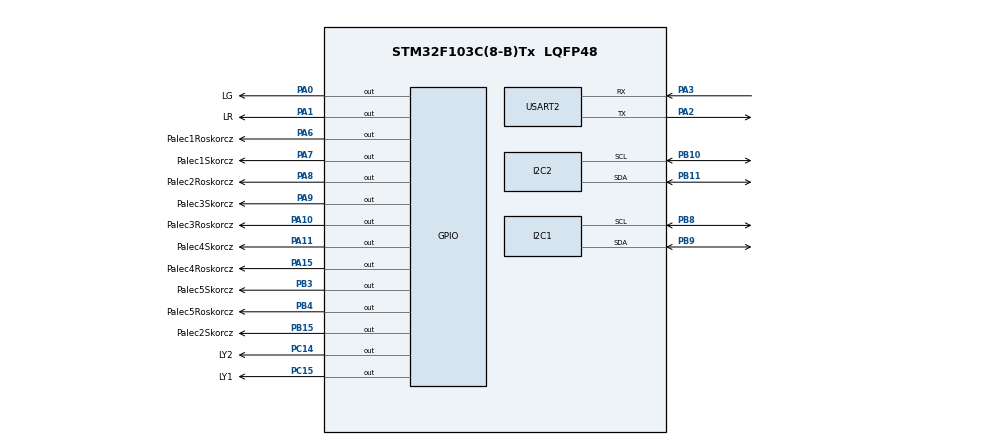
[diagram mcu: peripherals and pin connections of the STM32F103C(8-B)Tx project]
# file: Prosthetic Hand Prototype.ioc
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Mcu.Family=STM32F1
Mcu.Name=STM32F103C(8-B)Tx
Mcu.Package=LQFP48
NVIC.PriorityGroup=NVIC_PRIORITYGROUP_4
PA0-WKUP.GPIO_Label=LG
PA0-WKUP.Signal=GPIO_Output
PA1.GPIO_Label=LR
PA1.Signal=GPIO_Output
PA10.GPIO_Label=Palec3Roskorcz
PA10.Signal=GPIO_Output
PA11.GPIO_Label=Palec4Skorcz
PA11.Signal=GPIO_Output
PA15.GPIO_Label=Palec4Roskorcz
PA15.Signal=GPIO_Output
PA2.Mode=Asynchronous
PA2.Signal=USART2_TX
PA3.Mode=Asynchronous
PA3.Signal=USART2_RX
PA6.GPIO_Label=Palec1Roskorcz
PA6.Signal=GPIO_Output
PA7.GPIO_Label=Palec1Skorcz
PA7.Signal=GPIO_Output
PA8.GPIO_Label=Palec2Roskorcz
PA8.Signal=GPIO_Output
PA9.GPIO_Label=Palec3Skorcz
PA9.Signal=GPIO_Output
PB10.Mode=I2C
PB10.Signal=I2C2_SCL
PB11.Mode=I2C
PB11.Signal=I2C2_SDA
PB15.GPIO_Label=Palec2Skorcz
PB15.Signal=GPIO_Output
PB3.GPIO_Label=Palec5Skorcz
PB3.Signal=GPIO_Output
PB4.GPIO_Label=Palec5Roskorcz
PB4.Signal=GPIO_Output
PB8.Mode=I2C
PB8.Signal=I2C1_SCL
PB9.Mode=I2C
PB9.Signal=I2C1_SDA
PC14-OSC32_IN.GPIO_Label=LY2
PC14-OSC32_IN.Signal=GPIO_Output
PC15-OSC32_OUT.GPIO_Label=LY1
PC15-OSC32_OUT.Signal=GPIO_Output
ProjectManager.HeapSize=0x200
ProjectManager.StackSize=0x400
ProjectManager.TargetToolchain=STM32CubeIDE
RCC.APB1Freq_Value=8000000
RCC.APB2Freq_Value=8000000
USART2.VirtualMode=VM_ASYNC
VP_SYS_VS_ND.Mode=No_Debug
board=custom

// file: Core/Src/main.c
/* USER CODE BEGIN Header */
/**
  ******************************************************************************
  * @file           : main.c
  * @brief          : Main program body
  ******************************************************************************
  * @attention
  *
  * Copyright (c) 2026 STMicroelectronics.
  * All rights reserved.
  *
  * This software is licensed under terms that can be found in the LICENSE file
  * in the root directory of this software component.
  * If no LICENSE file comes with this software, it is provided AS-IS.
  *
  ******************************************************************************
  */
/* USER CODE END Header */
#include "main.h"

/* USER CODE BEGIN Includes */
#include <stdio.h>
#include <math.h>
#include "mag3110.h"
/* USER CODE END Includes */

/* USER CODE BEGIN PD */
#define MOTION_THRESHOLD 3.5//2.0f   // µT, 2.0 było za mało
#define DIRECTION_THRESHOLD 3.5f
#define STILL_LIMIT 30          // ile próbek bez ruchu kończy kalibrację

#define ALPHA 0.2f
#define THRESHOLD 1.8f
/* USER CODE END PD */

I2C_HandleTypeDef hi2c1;
I2C_HandleTypeDef hi2c2;

UART_HandleTypeDef huart2;

/* USER CODE BEGIN PV */
MAG3110_t mag;

#define N 10

float x,y,z;

float xmin =  10000;
float xmax = -10000;

float ymin =  10000;
float ymax = -10000;

float zmin =  10000;
float zmax = -10000;

float x_offset = 0;
float y_offset = 0;
float z_offset = 0;

float x_prev = 0;
float y_prev = 0;
float z_prev = 0;

float x_prev_corr = 0;
float y_prev_corr = 0;
float z_prev_corr = 0;

float B_buf[N];
int idx=0;

uint8_t calibration_done = 0;
uint32_t still_counter = 0;
uint8_t sensor_error = 0;

int MovementCounter = 0;

float x_filt = 0, y_filt = 0, z_filt = 0;
float x_prev_filt = 0, y_prev_filt = 0, z_prev_filt = 0;

static int motion_counter = 0;
uint32_t timer_start = 0;

uint8_t movement_active = 0;
/* USER CODE END PV */

void SystemClock_Config(void);
static void MX_GPIO_Init(void);
static void MX_I2C1_Init(void);
static void MX_USART2_UART_Init(void);
static void MX_I2C2_Init(void);

/* USER CODE BEGIN 0 */
int __io_putchar(int ch)
{
    HAL_UART_Transmit(&huart2, (uint8_t*)&ch, 1, HAL_MAX_DELAY);
    return 1;
}
/* USER CODE END 0 */

int main(void)
{

  /* MCU Configuration--------------------------------------------------------*/

  /* Reset of all peripherals, Initializes the Flash interface and the Systick. */
  HAL_Init();

  /* Configure the system clock */
  SystemClock_Config();

  /* Initialize all configured peripherals */
  MX_GPIO_Init();
  MX_I2C1_Init();
  MX_USART2_UART_Init();
  MX_I2C2_Init();
  /* USER CODE BEGIN 2 */
  MAG3110_Init(&mag, &hi2c1);
  /* USER CODE END 2 */

  /* Infinite loop */
  /* USER CODE BEGIN WHILE */

  for(uint8_t addr=1; addr<128; addr++)
  {
      if(HAL_I2C_IsDeviceReady(&hi2c1, addr<<1, 2, 10) == HAL_OK)
    	  printf("Sensor found. Address: 0x%02X\r\n", addr);

  }

  if(MAG3110_Init(&mag, &hi2c1) != HAL_OK)
    {
  	  sensor_error = 1;
    }

  while (1)
  {
	  if(sensor_error == 1){
		  printf("MAG3110 init ERROR\r\n");
		  HAL_GPIO_TogglePin(LR_GPIO_Port, LR_Pin);
		  HAL_Delay(1000);
	  }else{
		  	  MAG3110_Read_uT(&mag, &x,&y,&z);
	//Dla offsetu
		  	float dx_raw = fabsf(x - x_prev);
			float dy_raw = fabsf(y - y_prev);
			float dz_raw = fabsf(z - z_prev);

			uint8_t motion_detected = (dx_raw > MOTION_THRESHOLD) ||
									  (dy_raw > MOTION_THRESHOLD) ||
									  (dz_raw > MOTION_THRESHOLD);
		  if(!calibration_done)
		  {
			  printf("Calibration in progress\r\n");
			  HAL_GPIO_WritePin(LR_GPIO_Port, LR_Pin, GPIO_PIN_SET);
			  /* aktualizacja min/max */
			  if(x < xmin) xmin = x;
			  if(x > xmax) xmax = x;

			  if(y < ymin) ymin = y;
			  if(y > ymax) ymax = y;

			  if(z < zmin) zmin = z;
			  if(z > zmax) zmax = z;

			  /* wykrywanie braku ruchu */
			  if(motion_detected)
				  still_counter = 0;
			  else
				  still_counter++;

			  /* zakończenie kalibracji */
			  if(still_counter > STILL_LIMIT)
			  {
				  x_offset = (xmax + xmin)/2.0f;
				  y_offset = (ymax + ymin)/2.0f;
				  z_offset = (zmax + zmin)/2.0f;

				  calibration_done = 1;

				  timer_start = HAL_GetTick();

				  HAL_GPIO_WritePin(LR_GPIO_Port, LR_Pin, GPIO_PIN_RESET);
				  printf("Calibration DONE\r\n");
				  printf("Offsets: x_offset=%.2f y_offset=%.2f z_offset=%.2f\r\n", x_offset,y_offset,z_offset);
				  HAL_GPIO_WritePin(LG_GPIO_Port, LG_Pin, GPIO_PIN_SET);
			  }
		  }else
			 {
			  //Bez filtra
				 float x_corr = x - x_offset;
				 float y_corr = y - y_offset;
				 float z_corr = z - z_offset;

//				 printf("Corrected values: x=%.2f y=%.2f z=%.2f\r\n", x_corr,y_corr,z_corr);

				  // FILTR IIR
				  x_filt = ALPHA * x_corr + (1 - ALPHA) * x_prev_filt;
				  y_filt = ALPHA * y_corr + (1 - ALPHA) * y_prev_filt;
				  z_filt = ALPHA * z_corr + (1 - ALPHA) * z_prev_filt;

				 /* zmiana pola magnetycznego */
				 // FILTR IIR
				 float dx = x_filt - x_prev_filt;
				 float dy = y_filt - y_prev_filt;
				 float dz = z_filt - z_prev_filt;

				 float dB = sqrtf(dx*dx + dy*dy + dz*dz);

				 uint32_t current_time = HAL_GetTick() - timer_start;
				 printf("Field values: x=%.2f, y=%.2f, z=%.2f, time=%lu ms, dB=%.2f, movement counter: %d\r\n", x_filt,y_filt,z_filt,current_time,dB,MovementCounter);

				 /* wykrywanie ruchu */
				 if(dB > THRESHOLD){
					 motion_counter++;
				 }else{
					 motion_counter = 0;
				 }

				 if(motion_counter >= 3)
				 {

					 float adx = fabsf(dx);
					 float ady = fabsf(dy);
					 float adz = fabsf(dz);

					 /* kierunek ruchu */

					 if(adx > ady && adx > adz)
					 {
						 if(dx > 0){
							 //printf("Direction: +X\r\n");
							 //printf("Field change value: %.2f \n",dx);
							 MovementCounter++;
							 HAL_GPIO_WritePin(LY1_GPIO_Port, LY1_Pin, GPIO_PIN_SET);
						 }else{
							 //printf("Direction: -X\r\n");
							 //printf("Field change value: %.2f\r\n",dx);
							 MovementCounter++;
							 HAL_GPIO_WritePin(LY2_GPIO_Port, LY2_Pin, GPIO_PIN_SET);
						 }

					 }else if(ady > adx && ady > adz)
					 {
						 if(dy > 0){
							 //printf("Direction: +Y\r\n");
							 //printf("Field change value: %.2f\r\n",dy);
							 MovementCounter++;
							 HAL_GPIO_WritePin(LY1_GPIO_Port, LY1_Pin, GPIO_PIN_SET);
						 }else{
							 //printf("Direction: -Y\r\n");
							 //printf("Field change value: %.2f\r\n",dy);
							 MovementCounter++;
							 HAL_GPIO_WritePin(LY2_GPIO_Port, LY2_Pin, GPIO_PIN_SET);
						 }

					 }else{
						 if(dz > 0){
							 //printf("Direction: +Z\r\n");
							 //printf("Field change value: %.2f\r\n",dz);
							 MovementCounter++;
							 HAL_GPIO_WritePin(LY1_GPIO_Port, LY1_Pin, GPIO_PIN_SET);
						 }else{
							 //printf("Direction: -Z\r\n");
							 //printf("Field change value: %.2f\r\n",dz);
							 MovementCounter++;
							 HAL_GPIO_WritePin(LY2_GPIO_Port, LY2_Pin, GPIO_PIN_SET);
						 }
					 }
				 }
				 else{
					 HAL_GPIO_WritePin(LY1_GPIO_Port, LY1_Pin, GPIO_PIN_RESET);
					 HAL_GPIO_WritePin(LY2_GPIO_Port, LY2_Pin, GPIO_PIN_RESET);
				 }

				 x_prev_filt = x_filt;
				 y_prev_filt = y_filt;
				 z_prev_filt = z_filt;
			 }

			 x_prev = x;
			 y_prev = y;
			 z_prev = z;

			 /* Diody przygotowane do obsługi katalogu ruchów */
	//	     HAL_GPIO_WritePin(Palec1Skorcz_GPIO_Port, Palec1Skorcz_Pin, GPIO_PIN_SET);
	//		 HAL_GPIO_WritePin(Palec1Roskorcz_GPIO_Port, Palec1Roskorcz_Pin, GPIO_PIN_RESET);
	//		 HAL_GPIO_WritePin(Palec2Skorcz_GPIO_Port, Palec2Skorcz_Pin, GPIO_PIN_SET);
	//		 HAL_GPIO_WritePin(Palec2Roskorcz_GPIO_Port, Palec2Roskorcz_Pin, GPIO_PIN_RESET);
	//		 HAL_GPIO_WritePin(Palec3Skorcz_GPIO_Port, Palec3Skorcz_Pin, GPIO_PIN_SET);
	//		 HAL_GPIO_WritePin(Palec3Roskorcz_GPIO_Port, Palec3Roskorcz_Pin, GPIO_PIN_RESET);
	//		 HAL_GPIO_WritePin(Palec4Skorcz_GPIO_Port, Palec4Skorcz_Pin, GPIO_PIN_SET);
	//		 HAL_GPIO_WritePin(Palec4Roskorcz_GPIO_Port, Palec4Roskorcz_Pin, GPIO_PIN_RESET);
	//		 HAL_GPIO_WritePin(Palec5Skorcz_GPIO_Port, Palec5Skorcz_Pin, GPIO_PIN_SET);
	//		 HAL_GPIO_WritePin(Palec5Roskorcz_GPIO_Port, Palec5Roskorcz_Pin, GPIO_PIN_RESET);
	//		 HAL_Delay(1000);
	//
	//	     HAL_GPIO_WritePin(Palec1Skorcz_GPIO_Port, Palec1Skorcz_Pin, GPIO_PIN_RESET);
	//	     HAL_GPIO_WritePin(Palec1Roskorcz_GPIO_Port, Palec1Roskorcz_Pin, GPIO_PIN_SET);
	//	     HAL_GPIO_WritePin(Palec2Skorcz_GPIO_Port, Palec2Skorcz_Pin, GPIO_PIN_RESET);
	//	     HAL_GPIO_WritePin(Palec2Roskorcz_GPIO_Port, Palec2Roskorcz_Pin, GPIO_PIN_SET);
	//	     HAL_GPIO_WritePin(Palec3Skorcz_GPIO_Port, Palec3Skorcz_Pin, GPIO_PIN_RESET);
	//	     HAL_GPIO_WritePin(Palec3Roskorcz_GPIO_Port, Palec3Roskorcz_Pin, GPIO_PIN_SET);
	//	     HAL_GPIO_WritePin(Palec4Skorcz_GPIO_Port, Palec4Skorcz_Pin, GPIO_PIN_RESET);
	//	     HAL_GPIO_WritePin(Palec4Roskorcz_GPIO_Port, Palec4Roskorcz_Pin, GPIO_PIN_SET);
	//	     HAL_GPIO_WritePin(Palec5Skorcz_GPIO_Port, Palec5Skorcz_Pin, GPIO_PIN_RESET);
	//	     HAL_GPIO_WritePin(Palec5Roskorcz_GPIO_Port, Palec5Roskorcz_Pin, GPIO_PIN_SET);
	//
	//	     HAL_Delay(1000);
	//
			 HAL_Delay(50);
	      }
    /* USER CODE END WHILE */

  }
}

void SystemClock_Config(void)
{
  RCC_OscInitTypeDef RCC_OscInitStruct = {0};
  RCC_ClkInitTypeDef RCC_ClkInitStruct = {0};

  /** Initializes the RCC Oscillators according to the specified parameters
  * in the RCC_OscInitTypeDef structure.
  */
  RCC_OscInitStruct.OscillatorType = RCC_OSCILLATORTYPE_HSI;
  RCC_OscInitStruct.HSIState = RCC_HSI_ON;
  RCC_OscInitStruct.HSICalibrationValue = RCC_HSICALIBRATION_DEFAULT;
  RCC_OscInitStruct.PLL.PLLState = RCC_PLL_NONE;
  if (HAL_RCC_OscConfig(&RCC_OscInitStruct) != HAL_OK)
  {
    Error_Handler();
  }

  /** Initializes the CPU, AHB and APB buses clocks
  */
  RCC_ClkInitStruct.ClockType = RCC_CLOCKTYPE_HCLK|RCC_CLOCKTYPE_SYSCLK
                              |RCC_CLOCKTYPE_PCLK1|RCC_CLOCKTYPE_PCLK2;
  RCC_ClkInitStruct.SYSCLKSource = RCC_SYSCLKSOURCE_HSI;
  RCC_ClkInitStruct.AHBCLKDivider = RCC_SYSCLK_DIV1;
  RCC_ClkInitStruct.APB1CLKDivider = RCC_HCLK_DIV1;
  RCC_ClkInitStruct.APB2CLKDivider = RCC_HCLK_DIV1;

  if (HAL_RCC_ClockConfig(&RCC_ClkInitStruct, FLASH_LATENCY_0) != HAL_OK)
  {
    Error_Handler();
  }
}

static void MX_I2C1_Init(void)
{

  hi2c1.Instance = I2C1;
  hi2c1.Init.ClockSpeed = 100000;
  hi2c1.Init.DutyCycle = I2C_DUTYCYCLE_2;
  hi2c1.Init.OwnAddress1 = 0;
  hi2c1.Init.AddressingMode = I2C_ADDRESSINGMODE_7BIT;
  hi2c1.Init.DualAddressMode = I2C_DUALADDRESS_DISABLE;
  hi2c1.Init.OwnAddress2 = 0;
  hi2c1.Init.GeneralCallMode = I2C_GENERALCALL_DISABLE;
  hi2c1.Init.NoStretchMode = I2C_NOSTRETCH_DISABLE;
  if (HAL_I2C_Init(&hi2c1) != HAL_OK)
  {
    Error_Handler();
  }

}

static void MX_I2C2_Init(void)
{

  hi2c2.Instance = I2C2;
  hi2c2.Init.ClockSpeed = 100000;
  hi2c2.Init.DutyCycle = I2C_DUTYCYCLE_2;
  hi2c2.Init.OwnAddress1 = 0;
  hi2c2.Init.AddressingMode = I2C_ADDRESSINGMODE_7BIT;
  hi2c2.Init.DualAddressMode = I2C_DUALADDRESS_DISABLE;
  hi2c2.Init.OwnAddress2 = 0;
  hi2c2.Init.GeneralCallMode = I2C_GENERALCALL_DISABLE;
  hi2c2.Init.NoStretchMode = I2C_NOSTRETCH_DISABLE;
  if (HAL_I2C_Init(&hi2c2) != HAL_OK)
  {
    Error_Handler();
  }

}

static void MX_USART2_UART_Init(void)
{

  huart2.Instance = USART2;
  huart2.Init.BaudRate = 115200;
  huart2.Init.WordLength = UART_WORDLENGTH_8B;
  huart2.Init.StopBits = UART_STOPBITS_1;
  huart2.Init.Parity = UART_PARITY_NONE;
  huart2.Init.Mode = UART_MODE_TX_RX;
  huart2.Init.HwFlowCtl = UART_HWCONTROL_NONE;
  huart2.Init.OverSampling = UART_OVERSAMPLING_16;
  if (HAL_UART_Init(&huart2) != HAL_OK)
  {
    Error_Handler();
  }

}

static void MX_GPIO_Init(void)
{
  GPIO_InitTypeDef GPIO_InitStruct = {0};

  /* GPIO Ports Clock Enable */
  __HAL_RCC_GPIOC_CLK_ENABLE();
  __HAL_RCC_GPIOA_CLK_ENABLE();
  __HAL_RCC_GPIOB_CLK_ENABLE();

  /*Configure GPIO pin Output Level */
  HAL_GPIO_WritePin(GPIOC, LY2_Pin|LY1_Pin, GPIO_PIN_RESET);

  /*Configure GPIO pin Output Level */
  HAL_GPIO_WritePin(GPIOA, LG_Pin|LR_Pin|Palec1Roskorcz_Pin|Palec1Skorcz_Pin
                          |Palec2Roskorcz_Pin|Palec3Skorcz_Pin|Palec3Roskorcz_Pin|Palec4Skorcz_Pin
                          |Palec4Roskorcz_Pin, GPIO_PIN_RESET);

  /*Configure GPIO pin Output Level */
  HAL_GPIO_WritePin(GPIOB, Palec2Skorcz_Pin|Palec5Skorcz_Pin|Palec5Roskorcz_Pin, GPIO_PIN_RESET);

  /*Configure GPIO pins : LY2_Pin LY1_Pin */
  GPIO_InitStruct.Pin = LY2_Pin|LY1_Pin;
  GPIO_InitStruct.Mode = GPIO_MODE_OUTPUT_PP;
  GPIO_InitStruct.Pull = GPIO_NOPULL;
  GPIO_InitStruct.Speed = GPIO_SPEED_FREQ_LOW;
  HAL_GPIO_Init(GPIOC, &GPIO_InitStruct);

  /*Configure GPIO pins : LG_Pin LR_Pin Palec1Roskorcz_Pin Palec1Skorcz_Pin
                           Palec2Roskorcz_Pin Palec3Skorcz_Pin Palec3Roskorcz_Pin Palec4Skorcz_Pin
                           Palec4Roskorcz_Pin */
  GPIO_InitStruct.Pin = LG_Pin|LR_Pin|Palec1Roskorcz_Pin|Palec1Skorcz_Pin
                          |Palec2Roskorcz_Pin|Palec3Skorcz_Pin|Palec3Roskorcz_Pin|Palec4Skorcz_Pin
                          |Palec4Roskorcz_Pin;
  GPIO_InitStruct.Mode = GPIO_MODE_OUTPUT_PP;
  GPIO_InitStruct.Pull = GPIO_NOPULL;
  GPIO_InitStruct.Speed = GPIO_SPEED_FREQ_LOW;
  HAL_GPIO_Init(GPIOA, &GPIO_InitStruct);

  /*Configure GPIO pins : Palec2Skorcz_Pin Palec5Skorcz_Pin Palec5Roskorcz_Pin */
  GPIO_InitStruct.Pin = Palec2Skorcz_Pin|Palec5Skorcz_Pin|Palec5Roskorcz_Pin;
  GPIO_InitStruct.Mode = GPIO_MODE_OUTPUT_PP;
  GPIO_InitStruct.Pull = GPIO_NOPULL;
  GPIO_InitStruct.Speed = GPIO_SPEED_FREQ_LOW;
  HAL_GPIO_Init(GPIOB, &GPIO_InitStruct);

}

void Error_Handler(void)
{
  __disable_irq();
  while (1)
  {
  }
}
